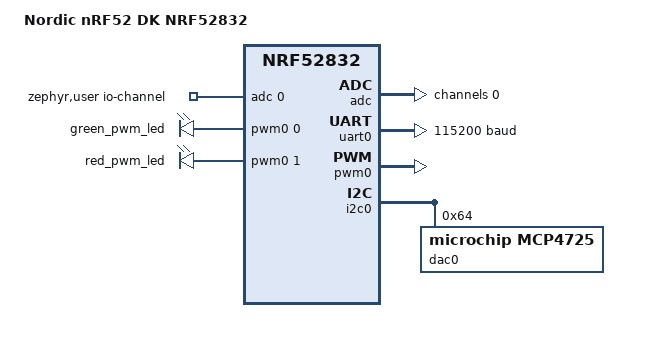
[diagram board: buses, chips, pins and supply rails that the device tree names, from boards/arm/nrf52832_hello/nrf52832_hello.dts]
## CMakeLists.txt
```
cmake_minimum_required(VERSION 3.20.0)

set(BOARD_ROOT ${CMAKE_CURRENT_LIST_DIR})

##### prod board ##################################
set(BOARD nrf52832_therm)
##### dev board with shield #######################
#set(BOARD "nrf52dk_nrf52832")
#set(SHIELD "thermo")
###################################################

find_package(Zephyr REQUIRED HINTS $ENV{ZEPHYR_BASE})
project(thermo)

target_sources(app PRIVATE src/main.cpp src/thermo.cpp src/adc.cpp src/bt.cpp src/db.cpp)
```

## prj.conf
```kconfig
CONFIG_MAIN_STACK_SIZE=2048
CONFIG_NEWLIB_LIBC=y

# Must disable log and shell for sane battery performance,
# otherwise something is consuming about 3mA even when RTT Viewer is not connected.
# With disconnected RTT Viewer it takes about 25uA at first, which then
# skyrockets to 3mA. Probably as output buffer overflowing.
# With shell/log disabled we consume only ~5uA (advertising once a second)
# and ~100uA, when connected.
# TODO: tweak connection interval too
CONFIG_LOG=n
CONFIG_SHELL=n
CONFIG_BT_SHELL=n

CONFIG_SHELL_BACKEND_RTT=y
CONFIG_SHELL_PROMPT_RTT="th:~$ "
CONFIG_SENSOR=y
CONFIG_ADC=y

CONFIG_FLASH=y
CONFIG_FLASH_MAP=y
CONFIG_FCB=y
CONFIG_SETTINGS=y
CONFIG_SETTINGS_RUNTIME=y
CONFIG_SETTINGS_FCB=y

CONFIG_BT=y
CONFIG_BT_PERIPHERAL=y
CONFIG_BT_MAX_CONN=8
CONFIG_BT_DIS=y
CONFIG_BT_DIS_PNP=n
CONFIG_BT_DIS_MODEL="Thermo"
CONFIG_BT_DIS_MANUF="Denis Kokarev"
CONFIG_BT_DIS_SERIAL_NUMBER=y
CONFIG_BT_DIS_FW_REV=y
CONFIG_BT_DIS_HW_REV=y
CONFIG_BT_DIS_SERIAL_NUMBER_STR="002"
CONFIG_BT_DIS_FW_REV_STR="1.0"
CONFIG_BT_DIS_HW_REV_STR="1.0"
CONFIG_BT_DEVICE_NAME="Thermometer"
CONFIG_BT_BAS=y
# Below is setup to let DIS information be read from settings
CONFIG_BT_SETTINGS=y

CONFIG_BT_DIS_SETTINGS=y
CONFIG_BT_DIS_STR_MAX=21

# increases power consumption by ~30%
CONFIG_BT_CTLR_TX_PWR_PLUS_4=y

CONFIG_CPP=y
CONFIG_STD_CPP17=y
CONFIG_GLIBCXX_LIBCPP=y
CONFIG_CPP_EXCEPTIONS=y
```

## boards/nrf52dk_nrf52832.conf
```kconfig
# enable shell and log on dev board
CONFIG_LOG=y
# to LOG %f values
CONFIG_CBPRINTF_FP_SUPPORT=y
# to log at the very start
CONFIG_LOG_BACKEND_UART=y
# disable second shell backend to to avoid dups
CONFIG_SHELL_LOG_BACKEND=n
CONFIG_LOG_BACKEND_SHOW_COLOR=y
CONFIG_SHELL=y
CONFIG_SHELL_BACKEND_RTT=n
CONFIG_SHELL_BACKEND_SERIAL=y
CONFIG_SHELL_PROMPT_UART="th:~$ "
CONFIG_BT_SHELL=y
```

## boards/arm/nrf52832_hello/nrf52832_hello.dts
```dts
/*
 * Copyright (c) 2017 Shawn Nock <shawn@monadnock.ca>
 * Copyright (c) 2017 Linaro Limited
 *
 * SPDX-License-Identifier: Apache-2.0
 */

/dts-v1/;
#include <nordic/nrf52832_qfaa.dtsi>
#include "nrf52832_hello.dtsi"

/ {
	model = "Nordic nRF52 DK NRF52832";
	compatible = "nordic,nrf52-dk-nrf52832";

	chosen {
		zephyr,console = &uart0;
		zephyr,shell-uart = &uart0;
		zephyr,uart-mcumgr = &uart0;
		zephyr,bt-mon-uart = &uart0;
		zephyr,bt-c2h-uart = &uart0;
		zephyr,sram = &sram0;
		zephyr,flash = &flash0;
		zephyr,code-partition = &slot0_partition;
	};

	zephyr,user {
		dac = <&dac0>;
		dac-channel-id = <0>;
		dac-resolution = <12>;

		io-channels = <&adc 0>;
	};

	pwmleds: pwmleds {
		compatible = "pwm-leds";
		status = "okay";

		green_pwm_led: green_pwm_led {
			pwms = <&pwm0 0 PWM_MSEC(20) PWM_POLARITY_NORMAL>;
		};

		red_pwm_led: red_pwm_led {
			pwms = <&pwm0 1 PWM_MSEC(20) PWM_POLARITY_NORMAL>;
		};
	};


	/* These aliases are provided for compatibility with samples */
	aliases {
		pledg = &green_pwm_led;
		pledr = &red_pwm_led;
		watchdog0 = &wdt0;
	};
};

&adc {
	status = "okay";
	#address-cells = <1>;
	#size-cells = <0>;

	channel@0 {
		// when battery is not connected the jitter on the channel is quite high
		reg = <0>;
		zephyr,gain = "ADC_GAIN_1_6"; // nordic iref = 0.6v, i.e 4095 == 3.6v
		zephyr,reference = "ADC_REF_INTERNAL";
		zephyr,acquisition-time = <ADC_ACQ_TIME(ADC_ACQ_TIME_MICROSECONDS, 40)>; // slowest supported
		zephyr,input-positive = <NRF_SAADC_AIN0>; /* P0.02 */
		zephyr,oversampling = <4>; // average over 16 samples
		zephyr,resolution = <12>;
	};
};

&gpiote {
	status = "okay";
};

&gpio0 {
	status = "okay";
};

arduino_serial: &uart0 {
	status = "okay";
	compatible = "nordic,nrf-uarte";
	current-speed = <115200>;
	pinctrl-0 = <&uart0_default>;
	pinctrl-1 = <&uart0_sleep>;
	pinctrl-names = "default", "sleep";
};

&pwm0 {
	status = "okay";
	pinctrl-0 = <&pwm0_default>;
	pinctrl-1 = <&pwm0_sleep>;
	pinctrl-names = "default", "sleep";
};

&i2c0 {
	compatible = "nordic,nrf-twim";
	status = "okay";
	pinctrl-0 = <&i2c0_default>;
	pinctrl-1 = <&i2c0_sleep>;
	pinctrl-names = "default", "sleep";
	dac0: mcp4725@64 {
		// MCP4725A2T-E-CH
		// addr = 1100 10 0
		compatible = "microchip,mcp4725";
		status = "okay";
		reg = <0x64>;
		#io-channel-cells = <1>;
	};
};

&flash0 {

	partitions {
		compatible = "fixed-partitions";
		#address-cells = <1>;
		#size-cells = <1>;

		boot_partition: partition@0 {
			label = "mcuboot";
			reg = <0x00000000 0xc000>;
		};
		slot0_partition: partition@c000 {
			label = "image-0";
			reg = <0x0000C000 0x37000>;
		};
		slot1_partition: partition@43000 {
			label = "image-1";
			reg = <0x00043000 0x37000>;
		};
		storage_partition: partition@7a000 {
			label = "storage";
			reg = <0x0007a000 0x00006000>;
		};
	};
};
```

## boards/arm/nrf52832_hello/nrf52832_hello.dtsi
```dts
/*
 * Copyright (c) 2022 Nordic Semiconductor
 * SPDX-License-Identifier: Apache-2.0
 */

&pinctrl {
	uart0_default: uart0_default {
		group1 {
			psels = <NRF_PSEL(UART_TX, 0, 6)>,
				<NRF_PSEL(UART_RX, 0, 8)>,
				<NRF_PSEL(UART_RTS, 0, 5)>,
				<NRF_PSEL(UART_CTS, 0, 7)>;
		};
	};

	uart0_sleep: uart0_sleep {
		group1 {
			psels = <NRF_PSEL(UART_TX, 0, 6)>,
				<NRF_PSEL(UART_RX, 0, 8)>,
				<NRF_PSEL(UART_RTS, 0, 5)>,
				<NRF_PSEL(UART_CTS, 0, 7)>;
			low-power-enable;
		};
	};

	i2c0_default: i2c0_default {
		group1 {
			psels = <NRF_PSEL(TWIM_SDA, 0, 27)>,
				<NRF_PSEL(TWIM_SCL, 0, 26)>;
			bias-pull-up;
		};
	};

	i2c0_sleep: i2c0_sleep {
		group1 {
			psels = <NRF_PSEL(TWIM_SDA, 0, 27)>,
				<NRF_PSEL(TWIM_SCL, 0, 26)>;
			bias-pull-up;
			low-power-enable;
		};
	};

	i2c1_default: i2c1_default {
		group1 {
			psels = <NRF_PSEL(TWIM_SDA, 0, 30)>,
				<NRF_PSEL(TWIM_SCL, 0, 31)>;
		};
	};

	i2c1_sleep: i2c1_sleep {
		group1 {
			psels = <NRF_PSEL(TWIM_SDA, 0, 30)>,
				<NRF_PSEL(TWIM_SCL, 0, 31)>;
			low-power-enable;
		};
	};

	pwm0_default: pwm0_default {
		group1 {
			psels = <NRF_PSEL(PWM_OUT0, 0, 11)>, <NRF_PSEL(PWM_OUT1, 0, 12)>;
			nordic,invert;
		};
	};

	pwm0_sleep: pwm0_sleep {
		group1 {
			psels = <NRF_PSEL(PWM_OUT0, 0, 11)>, <NRF_PSEL(PWM_OUT1, 0, 12)>;
			low-power-enable;
		};
	};

	spi0_default: spi0_default {
		group1 {
			psels = <NRF_PSEL(SPIM_SCK, 0, 27)>,
				<NRF_PSEL(SPIM_MOSI, 0, 26)>,
				<NRF_PSEL(SPIM_MISO, 0, 28)>;
		};
	};

	spi0_sleep: spi0_sleep {
		group1 {
			psels = <NRF_PSEL(SPIM_SCK, 0, 27)>,
				<NRF_PSEL(SPIM_MOSI, 0, 26)>,
				<NRF_PSEL(SPIM_MISO, 0, 28)>;
			low-power-enable;
		};
	};

	spi1_default: spi1_default {
		group1 {
			psels = <NRF_PSEL(SPIM_SCK, 0, 31)>,
				<NRF_PSEL(SPIM_MOSI, 0, 30)>,
				<NRF_PSEL(SPIM_MISO, 0, 29)>;
		};
	};

	spi1_sleep: spi1_sleep {
		group1 {
			psels = <NRF_PSEL(SPIM_SCK, 0, 31)>,
				<NRF_PSEL(SPIM_MOSI, 0, 30)>,
				<NRF_PSEL(SPIM_MISO, 0, 29)>;
			low-power-enable;
		};
	};

	spi2_default: spi2_default {
		group1 {
			psels = <NRF_PSEL(SPIM_SCK, 0, 25)>,
				<NRF_PSEL(SPIM_MOSI, 0, 23)>,
				<NRF_PSEL(SPIM_MISO, 0, 24)>;
		};
	};

	spi2_sleep: spi2_sleep {
		group1 {
			psels = <NRF_PSEL(SPIM_SCK, 0, 25)>,
				<NRF_PSEL(SPIM_MOSI, 0, 23)>,
				<NRF_PSEL(SPIM_MISO, 0, 24)>;
			low-power-enable;
		};
	};

};
```

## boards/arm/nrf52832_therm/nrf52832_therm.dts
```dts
/*
 * Copyright (c) 2017 Shawn Nock <shawn@monadnock.ca>
 * Copyright (c) 2017 Linaro Limited
 *
 * SPDX-License-Identifier: Apache-2.0
 */

/dts-v1/;
#include <nordic/nrf52832_qfaa.dtsi>
#include "nrf52832_therm.dtsi"

/ {
	model = "Nordic nRF52 Thermometer";
	compatible = "nordic,nrf52-dk-nrf52832";

	chosen {
		zephyr,sram = &sram0;
		zephyr,flash = &flash0;
		zephyr,code-partition = &slot0_partition;
	};

	zephyr,user {
		thermo = <&thermo>;
		io-channels = <&adc 0>;
	};
};

&i2c0 {
	status = "okay";
	compatible = "nordic,nrf-twim";
	status = "okay";
	pinctrl-0 = <&i2c0_default>;
	pinctrl-1 = <&i2c0_sleep>;
	pinctrl-names = "default", "sleep";
	thermo: si7021@40{
		compatible = "silabs,si7006";
		reg = <0x40>;
		label = "Si7021";
		status = "okay";
	};
};

&adc {
	status = "okay";
	#address-cells = <1>;
	#size-cells = <0>;

	channel@0 {
		// when battery is not connected the jitter on the channel is quite high
		reg = <0>;
		zephyr,gain = "ADC_GAIN_1_6"; // nordic iref = 0.6v, i.e 4095 == 3.6v
		zephyr,reference = "ADC_REF_INTERNAL";
		zephyr,acquisition-time = <ADC_ACQ_TIME(ADC_ACQ_TIME_MICROSECONDS, 40)>; // slowest supported
		zephyr,input-positive = <NRF_SAADC_AIN0>; /* P0.02 */
		zephyr,oversampling = <4>; // average over 16 samples
		zephyr,resolution = <12>;
	};
};

&flash0 {

	partitions {
		compatible = "fixed-partitions";
		#address-cells = <1>;
		#size-cells = <1>;

		boot_partition: partition@0 {
			label = "mcuboot";
			reg = <0x00000000 0xc000>;
		};
		slot0_partition: partition@c000 {
			label = "image-0";
			reg = <0x0000C000 0x37000>;
		};
		slot1_partition: partition@43000 {
			label = "image-1";
			reg = <0x00043000 0x37000>;
		};
		storage_partition: partition@7a000 {
			label = "storage";
			reg = <0x0007a000 0x00006000>;
		};
	};
};
```

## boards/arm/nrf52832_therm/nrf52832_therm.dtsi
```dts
/*
 * Copyright (c) 2022 Nordic Semiconductor
 * SPDX-License-Identifier: Apache-2.0
 */

&pinctrl {
	i2c0_default: i2c0_default {
		group1 {
			psels = <NRF_PSEL(TWIM_SDA, 0, 26)>,
				<NRF_PSEL(TWIM_SCL, 0, 27)>;
			bias-pull-up;
		};
	};

	i2c0_sleep: i2c0_sleep {
		group1 {
			psels = <NRF_PSEL(TWIM_SDA, 0, 26)>,
				<NRF_PSEL(TWIM_SCL, 0, 27)>;
			bias-pull-up;
			low-power-enable;
		};
	};
};
```

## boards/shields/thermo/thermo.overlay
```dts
/ {
    zephyr,user {
        thermo = <&thermo>;
        io-channels = <&adc 0>;
    };
};

&i2c0 {
        status = "okay";
        thermo: si7021@40{
                compatible = "silabs,si7006";
                reg = <0x40>;
                label = "Si7021";
                status = "okay";
        };
};

&adc {
	status = "okay";
	#address-cells = <1>;
	#size-cells = <0>;

	channel@0 {
		// when battery is not connected the jitter on the channel is quite high
		reg = <0>;
		zephyr,gain = "ADC_GAIN_1_6"; // nordic iref = 0.6v, i.e 4095 == 3.6v
		zephyr,reference = "ADC_REF_INTERNAL";
		zephyr,acquisition-time = <ADC_ACQ_TIME(ADC_ACQ_TIME_MICROSECONDS, 40)>; // slowest supported
		zephyr,input-positive = <NRF_SAADC_AIN0>; /* P0.02 */
		zephyr,oversampling = <4>; // average over 16 samples
		zephyr,resolution = <12>;
	};
};
```

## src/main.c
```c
#include <zephyr/kernel.h>
#include <zephyr/logging/log.h>

LOG_MODULE_REGISTER(main, LOG_LEVEL_INF);

#include "adc.h"
#include "thermo.h"
#include "bt.h"

int main(void) {
	int rc;
	if ((rc = adc_init())) {
		LOG_ERR("Cannot initialize ADC, error: %d", rc);
		return -1;
	}
	if (!thermo_init()) {
		LOG_ERR("Cannot initialize temperature sensor");
		return -2;
	}
	if (bt_start()) {
		LOG_ERR("Cannot start BT subsystem");
		return -3;
	}

	while (true) {
		float bat;
		if (adc_sample(&bat, ACH_BAT_LVL)) {
			LOG_ERR("Failed to read battery voltage");
		} else {
			LOG_INF("Bat: %.2fV", (double)bat);
		}
		k_sleep(K_MSEC(5000));
	}
	return 0;
}
```

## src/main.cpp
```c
#include <cmath>
#include <zephyr/kernel.h>
#include <zephyr/logging/log.h>

LOG_MODULE_REGISTER(main, LOG_LEVEL_INF);

#include "adc.hpp"
#include "thermo.hpp"
#include "bt.hpp"

using namespace dkv::thermo;

int main(void) {
	try {
		adc_init();
		thermo_init();
		bt_start();
	} catch (const AdcError &ex) {
		LOG_ERR("ADC sensor init error: %s, code: %d", ex.msg, ex.code);
		return -1;
	} catch (const ThermoError &ex) {
		LOG_ERR("Temp sensor init error: %s, code: %d", ex.msg, ex.code);
		return -2;
	} catch (const BtError &ex) {
		LOG_ERR("Bluetooth init error: %s, code: %d", ex.msg, ex.code);
		return -3;
	}
	try {
		float prev_bat = 0;
		while (true) {
			float bat = adc_sample(ACH_BAT_LVL);
			if (std::abs(bat - prev_bat) > 0.005f) {
				LOG_INF("Batt Voltage changed: %.2fV", (double) bat);
				prev_bat = bat;
			}
			k_sleep(K_MSEC(5000));
		}
	} catch (const Error &ex) {
		LOG_ERR("Finishing main loop due to an error: %s, code: %d", ex.msg, ex.code);
		return -4;
	}
}
```

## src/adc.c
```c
//
// Created by Denis Kokarev on 12/25/23.
//
#include <zephyr/drivers/adc.h>
#include <zephyr/logging/log.h>

LOG_MODULE_REGISTER(adc, LOG_LEVEL_INF);

#include "adc.h"

#if !DT_NODE_EXISTS(DT_PATH(zephyr_user)) || \
    !DT_NODE_HAS_PROP(DT_PATH(zephyr_user), io_channels)
#error "Unsupported board, no 'zephyr,user' io-channels alias"
#endif

#define ADC_NCHAN   DT_PROP_LEN(DT_PATH(zephyr_user), io_channels)

#if ACH_SZ != DC_NCHAN
#error "ACH enums should match the ADC channels size"
#endif

#define DT_SPEC_AND_COMMA(node_id, prop, idx) \
    ADC_DT_SPEC_GET_BY_IDX(node_id, idx),

/* Data of ADC io-channels specified in devicetree. */
static const struct adc_dt_spec adc_channels[] = {
		DT_FOREACH_PROP_ELEM(DT_PATH(zephyr_user), io_channels,
		                     DT_SPEC_AND_COMMA)
};

#define DT_BUF_DEF(node_id, prop, I) { .buffer = &buf[I], .buffer_size = sizeof(buf[I]), },

static int16_t buf[ADC_NCHAN];

static struct adc_sequence sequence[ADC_NCHAN] = {
		DT_FOREACH_PROP_ELEM(DT_PATH(zephyr_user), io_channels, DT_BUF_DEF)
};

/**
 * @return 0 on success, otherwise error code
 */
int adc_init() {
	/* Configure channels individually prior to sampling. */
	for (size_t i = 0U; i < ARRAY_SIZE(adc_channels); i++) {
		if (!device_is_ready(adc_channels[i].dev)) {
			LOG_ERR("ADC controller device not ready");
			return -EINVAL;
		}

		int rc = adc_channel_setup_dt(&adc_channels[i]);
		if (rc < 0) {
			LOG_ERR("Could not setup channel #%d (%d)", i, rc);
			return -EINVAL;
		}
		rc = adc_sequence_init_dt(&adc_channels[i], &sequence[i]);
		if (rc < 0) {
			LOG_ERR("Could not setup channel #%d sequence (%d)", i, rc);
			return -EINVAL;
		}
	}
	return 0;
}

// nordic iref = 0.6v, and with x6 scale factor 4095 == 3.6v
static float adc2v(float adc) {
	return adc * 3.6f / 4096;
}

/**
 * read adc value from the given channel
 * @param sample the resulting value in volts
 * @param chan ACH_ channel number
 * @return 0 on success, otherwise err code
 */
int adc_sample(float *sample, int chan) {
	int err = adc_read(adc_channels[chan].dev, &sequence[chan]);
	if (err < 0) {
		LOG_ERR("- %s, channel %d: error: %d ",
		        adc_channels[chan].dev->name,
		        adc_channels[chan].channel_id,
		        err);
		return err;
	} else {
		*sample = adc2v(buf[chan]);
		return 0;
	}
}
```

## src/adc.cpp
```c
//
// Created by Denis Kokarev on 12/25/23.
//
#include <zephyr/drivers/adc.h>
#include <zephyr/logging/log.h>

LOG_MODULE_REGISTER(adc, LOG_LEVEL_INF);

#include "adc.hpp"

namespace dkv::thermo {

#if !DT_NODE_EXISTS(DT_PATH(zephyr_user)) || \
    !DT_NODE_HAS_PROP(DT_PATH(zephyr_user), io_channels)
#error "Unsupported board, no 'zephyr,user' io-channels alias"
#endif

#define ADC_NCHAN   DT_PROP_LEN(DT_PATH(zephyr_user), io_channels)

#if ACH_SZ != DC_NCHAN
#error "ACH enums should match the ADC channels size"
#endif

#define DT_SPEC_AND_COMMA(node_id, prop, idx) \
    ADC_DT_SPEC_GET_BY_IDX(node_id, idx),

/* Data of ADC io-channels specified in devicetree. */
static const struct adc_dt_spec adc_channels[] = {
		DT_FOREACH_PROP_ELEM(DT_PATH(zephyr_user), io_channels,
		                     DT_SPEC_AND_COMMA)
};

#define DT_BUF_DEF(node_id, prop, I) { .buffer = &buf[I], .buffer_size = sizeof(buf[I]), },

static int16_t buf[ADC_NCHAN];

static struct adc_sequence sequence[ADC_NCHAN] = {
		DT_FOREACH_PROP_ELEM(DT_PATH(zephyr_user), io_channels, DT_BUF_DEF)
};

void adc_init() {
	/* Configure channels individually prior to sampling. */
	for (size_t i = 0U; i < ARRAY_SIZE(adc_channels); i++) {
		if (!device_is_ready(adc_channels[i].dev)) {
			throw AdcError(-EINVAL, "ADC controller device not ready");
		}

		int rc = adc_channel_setup_dt(&adc_channels[i]);
		if (rc < 0) {
			throw AdcError(rc, "Could not setup channel #%d (%d)", i, rc);
		}
		rc = adc_sequence_init_dt(&adc_channels[i], &sequence[i]);
		if (rc < 0) {
			throw AdcError(rc, "Could not setup channel #%d sequence (%d)", i, rc);
		}
	}
}

// nordic iref = 0.6v, and with x6 scale factor 4095 == 3.6v
static float adc2v(float adc) {
	return adc * 3.6f / 4096;
}

float adc_sample(int chan) {
	int rc = adc_read(adc_channels[chan].dev, &sequence[chan]);
	if (rc < 0) {
		throw AdcError(rc, "ADC: %s, channel %d",
		               adc_channels[chan].dev->name,
		               adc_channels[chan].channel_id);
	} else {
		return adc2v(buf[chan]);
	}
}

} // namespace dkv::thermo
```

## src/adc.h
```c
//
// Created by Denis Kokarev on 12/25/23.
//

#ifndef THERMO_ADC_H
#define THERMO_ADC_H

enum {
	ACH_BAT_LVL,
	ACH_SZ,
};

/**
 * @return 0 on success, otherwise error code
 */
int adc_init();

/**
 * read adc value from the given channel
 * @param sample the resulting value in volts
 * @param chan ACH_ channel number
 * @return 0 on success, otherwise err code
 */
int adc_sample(float *sample, int chan);

#endif //THERMO_ADC_H
```

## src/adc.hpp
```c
#pragma once

#include <utility>
#include "ex.hpp"

namespace dkv::thermo {

enum {
	ACH_BAT_LVL,
	ACH_SZ,
};

class AdcError : public FormattedError<> {
public:
	template<typename... Args>
	AdcError(int code, const char *fmt, Args &&... args) :
			FormattedError(code, fmt, std::forward<Args>(args)...) {
	}
};

/**
 * Initialize ADC sensor
 * @throws AdcError on error
 */
void adc_init();

/**
 * read adc value from the given channel
 * @param chan ACH_ channel number
 * @return voltage value on the selected channel
 * @throws AdcError in case of a problem
 */
float adc_sample(int chan);

} // namespace dkv::thermo
```

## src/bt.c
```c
//
// Created by Denis Kokarev on 12/25/23.
//
#include <zephyr/kernel.h>
#include <zephyr/logging/log.h>

LOG_MODULE_REGISTER(bt, LOG_LEVEL_INF);

#include <zephyr/bluetooth/bluetooth.h>
#include <zephyr/bluetooth/conn.h>
#include <zephyr/bluetooth/uuid.h>
#include <zephyr/settings/settings.h>

#include <zephyr/bluetooth/gatt.h>
#include <zephyr/sys/byteorder.h>

#include "thermo.h"

static const struct bt_data ad[] = {
		BT_DATA_BYTES(BT_DATA_FLAGS, (BT_LE_AD_GENERAL | BT_LE_AD_NO_BREDR)),
		BT_DATA_BYTES(BT_DATA_UUID16_ALL, BT_UUID_16_ENCODE(BT_UUID_DIS_VAL),
		              BT_UUID_16_ENCODE(BT_UUID_ESS_VAL)),
};

static void connected(struct bt_conn *conn, uint8_t err) {
	if (err) {
		LOG_ERR("Connection failed (err 0x%02x)", err);
	} else {
		LOG_INF("Connected");
	}
}

static void disconnected(struct bt_conn *conn, uint8_t reason) {
	LOG_INF("Disconnected (reason 0x%02x)", reason);
}

BT_CONN_CB_DEFINE(conn_callbacks) = {
		.connected = connected,
		.disconnected = disconnected,
};

static int settings_runtime_load(void) {
	settings_runtime_set("bt/dis/model",
	                     CONFIG_BT_DIS_MODEL,
	                     sizeof(CONFIG_BT_DIS_MODEL));
	settings_runtime_set("bt/dis/manuf",
	                     CONFIG_BT_DIS_MANUF,
	                     sizeof(CONFIG_BT_DIS_MANUF));
	settings_runtime_set("bt/dis/serial",
	                     CONFIG_BT_DIS_SERIAL_NUMBER_STR,
	                     sizeof(CONFIG_BT_DIS_SERIAL_NUMBER_STR));
	settings_runtime_set("bt/dis/fw",
	                     CONFIG_BT_DIS_FW_REV_STR,
	                     sizeof(CONFIG_BT_DIS_FW_REV_STR));
	settings_runtime_set("bt/dis/hw",
	                     CONFIG_BT_DIS_HW_REV_STR,
	                     sizeof(CONFIG_BT_DIS_HW_REV_STR));
	return 0;
}

/**
 * start BT subsystem
 * @return 0 on success, otherwise err code
 */
int bt_start() {
	int err = bt_enable(NULL);
	if (err) {
		LOG_ERR("Bluetooth init failed (err %d)", err);
		return err;
	}

	if (IS_ENABLED(CONFIG_BT_SETTINGS)) {
		settings_load();
	}

	err = settings_subsys_init();
	if (err) {
		LOG_ERR("settings subsys initialization: fail (err %d)", err);
	} else {
		LOG_INF("settings subsys initialization: OK");
	}

	settings_load();
	settings_runtime_load();

	LOG_INF("Bluetooth initialized");

	err = bt_le_adv_start(BT_LE_ADV_PARAM(BT_LE_ADV_OPT_CONNECTABLE |
	                                      BT_LE_ADV_OPT_USE_NAME,
	                                      BT_GAP_ADV_SLOW_INT_MIN,
	                                      BT_GAP_ADV_SLOW_INT_MAX, NULL), ad, ARRAY_SIZE(ad), NULL, 0);
	if (err) {
		LOG_ERR("Advertising failed to start (err %d)", err);
		return err;
	}

	LOG_INF("Advertising successfully started");
	return 0;
}

static struct esp_ctx_s {
	struct k_work_delayable update_work;
	uint16_t temp_val;
	uint16_t hum_val;
	int notify_cnt;
} esp_ctx = {.temp_val = 20 * 100, .hum_val = 50 * 100, .notify_cnt = 0};

static void update_temp() {
	static double val[THS_SZ];
	if (thermo_read(val)) {
		LOG_ERR("Failed to fetch sensor sample");
	} else {
		LOG_INF("T:   %.1fC", val[THS_TEMP]);
		LOG_INF("RH:  %.1f%%", val[THS_HUM]);
		esp_ctx.temp_val = val[THS_TEMP] * 100;
		esp_ctx.hum_val = val[THS_HUM] * 100;
	}
}

static ssize_t read_temp(struct bt_conn *conn, const struct bt_gatt_attr *attr,
                         void *buf, uint16_t len, uint16_t offset) {
	update_temp();

	const uint16_t *u16 = attr->user_data;
	uint16_t value = sys_cpu_to_le16(*u16);
	return bt_gatt_attr_read(conn, attr, buf, len, offset, &value,
	                         sizeof(value));
}

#define UPDATE_T (K_MSEC(5 * 1000))

static void update_handler(struct k_work *work);

static void reschedule(int upd) {
	if (!esp_ctx.notify_cnt) {
		k_work_init_delayable(&esp_ctx.update_work, update_handler);
		k_work_schedule(&esp_ctx.update_work, UPDATE_T);
	}
	esp_ctx.notify_cnt += upd;
	if (!esp_ctx.notify_cnt) {
		k_work_cancel_delayable(&esp_ctx.update_work);
	}
}

static void temp_ccc_cfg(const struct bt_gatt_attr *attr,
                         uint16_t value) {
	int upd = (value == BT_GATT_CCC_NOTIFY) ? +1 : -1;
	reschedule(upd);
}

BT_GATT_SERVICE_DEFINE(ess_svc,
                       BT_GATT_PRIMARY_SERVICE(BT_UUID_ESS),

                       BT_GATT_CHARACTERISTIC(BT_UUID_TEMPERATURE,
                                              BT_GATT_CHRC_READ | BT_GATT_CHRC_NOTIFY,
                                              BT_GATT_PERM_READ,
                                              read_temp, NULL, &esp_ctx.temp_val),
                       BT_GATT_CUD("Temp", BT_GATT_PERM_READ),
                       BT_GATT_CCC(temp_ccc_cfg,
                                   BT_GATT_PERM_READ | BT_GATT_PERM_WRITE),

                       BT_GATT_CHARACTERISTIC(BT_UUID_HUMIDITY,
                                              BT_GATT_CHRC_READ | BT_GATT_CHRC_NOTIFY,
                                              BT_GATT_PERM_READ,
                                              read_temp, NULL, &esp_ctx.hum_val),
                       BT_GATT_CUD("Humidity", BT_GATT_PERM_READ),
                       BT_GATT_CCC(temp_ccc_cfg,
                                   BT_GATT_PERM_READ | BT_GATT_PERM_WRITE),
);

static void update_handler(struct k_work *work) {
	update_temp();
	struct k_work_delayable *dwork = k_work_delayable_from_work(work);
	uint16_t v = sys_cpu_to_le16(esp_ctx.temp_val);
	bt_gatt_notify(NULL, &ess_svc.attrs[2], &v, sizeof(v));
	v = sys_cpu_to_le16(esp_ctx.hum_val);
	bt_gatt_notify(NULL, &ess_svc.attrs[6], &v, sizeof(v));
	k_work_reschedule(dwork, UPDATE_T); // re-trigger next invocation
}
```

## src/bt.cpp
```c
//
// Created by Denis Kokarev on 12/25/23.
//
#include <zephyr/kernel.h>
#include <zephyr/logging/log.h>

LOG_MODULE_REGISTER(bt, LOG_LEVEL_INF);

#include <zephyr/bluetooth/bluetooth.h>
#include <zephyr/bluetooth/conn.h>
#include <zephyr/bluetooth/uuid.h>
#include <zephyr/settings/settings.h>

#include <zephyr/bluetooth/gatt.h>
#include <zephyr/sys/byteorder.h>

#include "thermo.hpp"
#include "bt.hpp"

namespace dkv::thermo {

static const struct bt_data ad[] = {
		BT_DATA_BYTES(BT_DATA_FLAGS, (BT_LE_AD_GENERAL | BT_LE_AD_NO_BREDR)),
		BT_DATA_BYTES(BT_DATA_UUID16_ALL, BT_UUID_16_ENCODE(BT_UUID_DIS_VAL),
		              BT_UUID_16_ENCODE(BT_UUID_ESS_VAL)),
};

static void connected(struct bt_conn *conn, uint8_t err) {
	if (err) {
		LOG_ERR("Connection failed (err 0x%02x)", err);
	} else {
		LOG_INF("Connected");
	}
}

static void disconnected(struct bt_conn *conn, uint8_t reason) {
	LOG_INF("Disconnected (reason 0x%02x)", reason);
}

BT_CONN_CB_DEFINE(conn_callbacks) = {
		.connected = connected,
		.disconnected = disconnected,
};

static int settings_runtime_load(void) {
	settings_runtime_set("bt/dis/model",
	                     CONFIG_BT_DIS_MODEL,
	                     sizeof(CONFIG_BT_DIS_MODEL));
	settings_runtime_set("bt/dis/manuf",
	                     CONFIG_BT_DIS_MANUF,
	                     sizeof(CONFIG_BT_DIS_MANUF));
	settings_runtime_set("bt/dis/serial",
	                     CONFIG_BT_DIS_SERIAL_NUMBER_STR,
	                     sizeof(CONFIG_BT_DIS_SERIAL_NUMBER_STR));
	settings_runtime_set("bt/dis/fw",
	                     CONFIG_BT_DIS_FW_REV_STR,
	                     sizeof(CONFIG_BT_DIS_FW_REV_STR));
	settings_runtime_set("bt/dis/hw",
	                     CONFIG_BT_DIS_HW_REV_STR,
	                     sizeof(CONFIG_BT_DIS_HW_REV_STR));
	return 0;
}


void bt_start() {
	int err = bt_enable(NULL);
	if (err) {
		throw BtError{err, "Bluetooth init failed"};
	}

	if (IS_ENABLED(CONFIG_BT_SETTINGS)) {
		settings_load();
	}

	err = settings_subsys_init();
	if (err) {
		throw BtError{err, "Settings subsys initialization failed"};
	} else {
		LOG_INF("Settings subsys initialization: OK");
	}

	settings_load();
	settings_runtime_load();

	LOG_INF("Bluetooth initialized");

	err = bt_le_adv_start(BT_LE_ADV_PARAM(BT_LE_ADV_OPT_CONNECTABLE |
	                                      BT_LE_ADV_OPT_USE_NAME,
	                                      BT_GAP_ADV_SLOW_INT_MIN,
	                                      BT_GAP_ADV_SLOW_INT_MAX, NULL), ad, ARRAY_SIZE(ad), NULL, 0);
	if (err) {
		throw BtError{err, "Advertising failed to start"};
	}

	LOG_INF("Advertising successfully started");
}

static struct esp_ctx_s {
	struct k_work_delayable update_work;
	uint16_t temp_val;
	uint16_t hum_val;
	int notify_cnt;
} esp_ctx = {.temp_val = 20 * 100, .hum_val = 50 * 100, .notify_cnt = 0};

static void update_temp() {
	try {
		auto val = thermo_read();
		LOG_INF("T:   %.1fC", val[THS_TEMP]);
		LOG_INF("RH:  %.1f%%", val[THS_HUM]);
		esp_ctx.temp_val = val[THS_TEMP] * 100;
		esp_ctx.hum_val = val[THS_HUM] * 100;
	} catch (const ThermoError &ex) {
		LOG_ERR("Failed to fetch sensor sample: %s, err: %d", ex.msg, ex.code);
	}
}

static ssize_t read_temp(struct bt_conn *conn, const struct bt_gatt_attr *attr,
                         void *buf, uint16_t len, uint16_t offset) {
	update_temp();

	const uint16_t *u16 = static_cast<uint16_t *>(attr->user_data);
	uint16_t value = sys_cpu_to_le16(*u16);
	return bt_gatt_attr_read(conn, attr, buf, len, offset, &value,
	                         sizeof(value));
}

#define UPDATE_T (K_MSEC(5 * 1000))

static void update_handler(struct k_work *work);

static void reschedule(int upd) {
	if (!esp_ctx.notify_cnt) {
		k_work_init_delayable(&esp_ctx.update_work, update_handler);
		k_work_schedule(&esp_ctx.update_work, UPDATE_T);
	}
	esp_ctx.notify_cnt += upd;
	if (!esp_ctx.notify_cnt) {
		k_work_cancel_delayable(&esp_ctx.update_work);
	}
}

static void temp_ccc_cfg(const struct bt_gatt_attr *attr,
                         uint16_t value) {
	int upd = (value == BT_GATT_CCC_NOTIFY) ? +1 : -1;
	reschedule(upd);
}

BT_GATT_SERVICE_DEFINE(ess_svc,
                       BT_GATT_PRIMARY_SERVICE(BT_UUID_ESS),

                       BT_GATT_CHARACTERISTIC(BT_UUID_TEMPERATURE,
                                              BT_GATT_CHRC_READ | BT_GATT_CHRC_NOTIFY,
                                              BT_GATT_PERM_READ,
                                              read_temp, NULL, &esp_ctx.temp_val),
                       BT_GATT_CUD("Temp", BT_GATT_PERM_READ),
                       BT_GATT_CCC(temp_ccc_cfg,
                                   BT_GATT_PERM_READ | BT_GATT_PERM_WRITE),

                       BT_GATT_CHARACTERISTIC(BT_UUID_HUMIDITY,
                                              BT_GATT_CHRC_READ | BT_GATT_CHRC_NOTIFY,
                                              BT_GATT_PERM_READ,
                                              read_temp, NULL, &esp_ctx.hum_val),
                       BT_GATT_CUD("Humidity", BT_GATT_PERM_READ),
                       BT_GATT_CCC(temp_ccc_cfg,
                                   BT_GATT_PERM_READ | BT_GATT_PERM_WRITE),
);

static void update_handler(struct k_work *work) {
	update_temp();
	struct k_work_delayable *dwork = k_work_delayable_from_work(work);
	uint16_t v = sys_cpu_to_le16(esp_ctx.temp_val);
	bt_gatt_notify(NULL, &ess_svc.attrs[2], &v, sizeof(v));
	v = sys_cpu_to_le16(esp_ctx.hum_val);
	bt_gatt_notify(NULL, &ess_svc.attrs[6], &v, sizeof(v));
	k_work_reschedule(dwork, UPDATE_T); // re-trigger next invocation
}

} // namespace dkv::thermo
```

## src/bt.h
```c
//
// Created by Denis Kokarev on 12/25/23.
//

#ifndef THERMO_BT_H
#define THERMO_BT_H

/**
 * start BT subsystem
 * @return 0 on success, otherwise err code
 */
int bt_start();

#endif //THERMO_BT_H
```

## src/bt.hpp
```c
#pragma once

#include "ex.hpp"

namespace dkv::thermo {

struct BtError : public Error {
	using Error::Error;
};

/**
 * start BT subsystem
 * @throws BtError on err
 */
void bt_start();

} // namespace dkv::thermo
```

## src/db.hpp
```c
#pragma once

namespace dkv::therm {

template<typename T>
class KHeapAllocator {
protected:
	k_heap &heap;
public:
	// Required typedefs
	using value_type = T;
	using pointer = T *;
	using const_pointer = const T *;
	using reference = T &;
	using const_reference = const T &;
	using size_type = std::size_t;
	using difference_type = std::ptrdiff_t;

	pointer allocate(size_type n) {
		auto ptr = k_heap_alloc(&heap, n * sizeof(T), K_NO_WAIT);
		if (!ptr) {
			throw std::bad_alloc();
		}
		return static_cast<pointer>(ptr);
	}

	inline void deallocate(pointer p, size_type n) {
		k_heap_free(&heap, p);
	}

	KHeapAllocator(k_heap &heap) : heap{heap} {
	};

	template<typename U> friend
	class KHeapAllocator;

	template<typename U>
	KHeapAllocator(const KHeapAllocator<U> &o) : KHeapAllocator(o.heap) {
	};
};

template<typename T> using KHeapList = std::list<T, KHeapAllocator<T>>;

} // namespace dkv::therm
```

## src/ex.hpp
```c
#pragma once

namespace dkv::thermo {

struct Error {
	int code;
	const char *msg;

	Error(int code, const char *msg) : code{code}, msg{msg} {
	}
};

template<size_t MSG_SZ = 64>
class FormattedError : public Error {
	char msg_buf[MSG_SZ];
public:
	FormattedError(int code, const char *fmt, ...) : Error(code, msg_buf) {
		va_list ap;
		va_start(ap, fmt);
		vsnprintk(msg_buf, MSG_SZ, fmt, ap);
		msg_buf[MSG_SZ - 1] = 0;
		va_end(ap);
	}
};

} // namespace dkv::thermo
```

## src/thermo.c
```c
//
// Created by Denis Kokarev on 12/25/23.
//
#include <zephyr/device.h>
#include <zephyr/logging/log.h>

LOG_MODULE_REGISTER(thermo, LOG_LEVEL_INF);

#include <zephyr/drivers/sensor.h>
#include "thermo.h"

static const enum sensor_channel s_vals[THS_SZ] = {
		[THS_TEMP] = SENSOR_CHAN_AMBIENT_TEMP,
		[THS_HUM] = SENSOR_CHAN_HUMIDITY,
};

#define ZU DT_PATH(zephyr_user)

#if (DT_NODE_HAS_PROP(ZU, thermo))
#define THERMO_DEV_NODE DT_PHANDLE(ZU, thermo)
#else
#error "Unsupported board, no 'zephyr,user' thermo alias"
#endif

static const struct device *const thermo_dev = DEVICE_DT_GET(THERMO_DEV_NODE);

/**
 * init temperature sensor
 * @return true on success
 */
bool thermo_init() {
	int rc = device_is_ready(thermo_dev);
	if (!rc) {
		LOG_ERR("Device \"%s\" not ready", thermo_dev->name);
	} else {
		LOG_INF("Initialized sensor \"%s\"", thermo_dev->name);
	}
	return rc;
}

/**
 * read temperature/humidity sample
 * @param sample - pointer to S_SZ double elements
 * @return 0 on success
 */
int thermo_read(double sample[THS_SZ]) {
	int rc = sensor_sample_fetch(thermo_dev);
	if (rc) {
		LOG_ERR("Failed to fetch sensor sample (%d)", rc);
	}
	for (int sv = 0; sv < THS_SZ; sv++) {
		struct sensor_value val;
		rc = sensor_channel_get(thermo_dev, s_vals[sv], &val);
		if (rc) {
			LOG_ERR("Failed to get data (%d) data for sensor, err = %d", s_vals[sv], rc);
			return rc;
		}
		sample[sv] = sensor_value_to_double(&val);
	}
	return 0;
}
```
